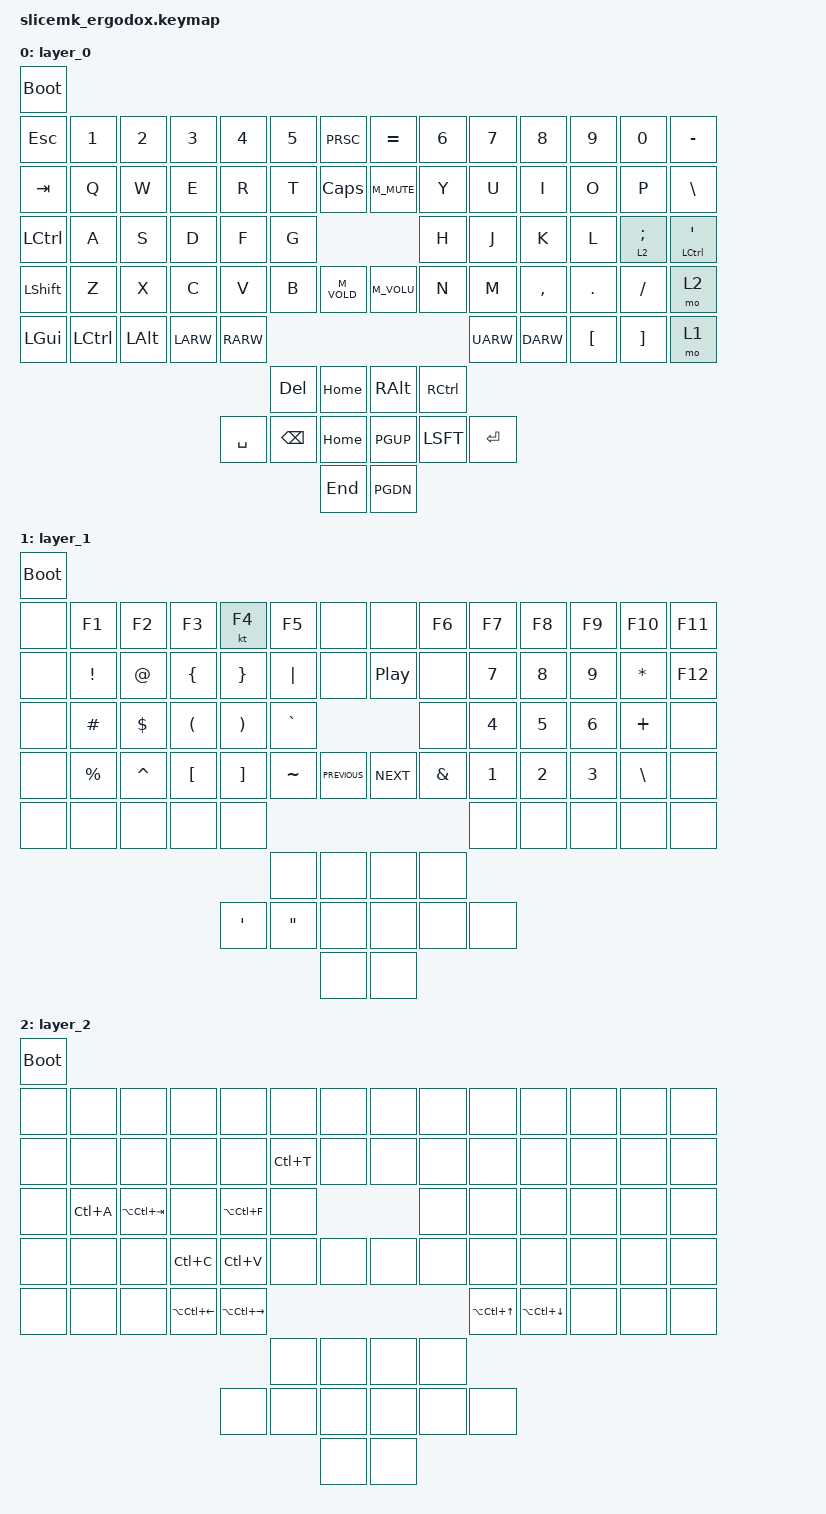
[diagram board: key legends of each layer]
#include <behaviors.dtsi>
#include <dt-bindings/zmk/bt.h>
#include <dt-bindings/zmk/keys.h>
#include <dt-bindings/zmk/outputs.h>



/ {
	keymap {
		compatible = "zmk,keymap";
		layer_0 {
			bindings = <
				&bootloader
				&kp ESC    &kp NUMBER_1 &kp NUMBER_2 &kp NUMBER_3 &kp NUMBER_4 &kp NUMBER_5 &kp PRSC   &kp EQUAL  &kp NUMBER_6 &kp NUMBER_7 &kp NUMBER_8 &kp NUMBER_9 &kp NUMBER_0 &kp MINUS
				&kp TAB    &kp Q        &kp W        &kp E        &kp R        &kp T        &kp CLCK   &kp M_MUTE &kp Y        &kp U        &kp I        &kp O        &kp P        &kp BSLH
				&kp LCTRL  &kp A        &kp S        &kp D        &kp F        &kp G                              &kp H        &kp J        &kp K        &kp L        &lt 2 SEMI   &mt LCTRL SQT
				&kp LSHIFT &kp Z        &kp X        &kp C        &kp V        &kp B        &kp M_VOLD &kp M_VOLU &kp N        &kp M        &kp CMMA     &kp DOT      &kp FSLH     &mo 2
				&kp LGUI   &kp LCTRL    &kp LALT     &kp LARW     &kp RARW                                                     &kp UARW     &kp DARW     &kp LBKT     &kp RBKT     &mo 1
				                                                               &kp DEL      &kp HOME   &kp RALT   &kp RCTRL
				                                                  &kp SPC      &kp BSPC     &kp HOME   &kp PGUP   &kp LSFT     &kp RET
				                                                                            &kp END    &kp PGDN
			>;
		};
		layer_1 {
			bindings = <
				&bootloader
				&none &kp F1    &kp F2    &kp F3   &kt F4           &kp F5            &none          &none            &kp F6        &kp F7 &kp F8 &kp F9 &kp F10       &kp F11
				&none &kp EXCL  &kp AT    &kp LBRC &kp RBRC         &kp PIPE          &none          &kp C_PLAY_PAUSE &none         &kp N7 &kp N8 &kp N9 &kp ASTERISK  &kp F12
				&none &kp HASH  &kp DLLR  &kp LPAR &kp RPAR         &kp GRAVE                                         &none         &kp N4 &kp N5 &kp N6 &kp PLUS      &none
				&none &kp PRCNT &kp CARET &kp LBKT &kp RBKT         &kp TILDE         &kp C_PREVIOUS &kp C_NEXT       &kp AMPERSAND &kp N1 &kp N2 &kp N3 &kp BACKSLASH &none
				&none &none     &none     &none    &none                                                                            &none  &none  &none  &none         &none
				                                                    &none             &none          &none            &none
				                                   &kp SINGLE_QUOTE &kp DOUBLE_QUOTES &none          &none            &none         &none
				                                                                      &none          &none
			>;
		};
		layer_2 {
			bindings = <
				&bootloader
				&none &none     &none           &none            &none             &none     &none &none &none &none          &none            &none &none &none
				&none &none     &none           &none            &none             &kp LC(T) &none &none &none &none          &none            &none &none &none
				&none &kp LC(A) &kp LA(LC(TAB)) &none            &kp LA(LC(F))     &none                 &none &none          &none            &none &none &none
				&none &none     &none           &kp LC(C)       &kp LC(V)       &none     &none &none &none &none          &none            &none &none &none
				&none &none     &none           &kp LA(LC(LEFT)) &kp LA(LC(RIGHT))                             &kp LA(LC(UP)) &kp LA(LC(DOWN)) &none &none &none
				                                                                   &none     &none &none &none
				                                                 &none             &none     &none &none &none &none
				                                                                             &none &none
			>;
		};
	};

};
